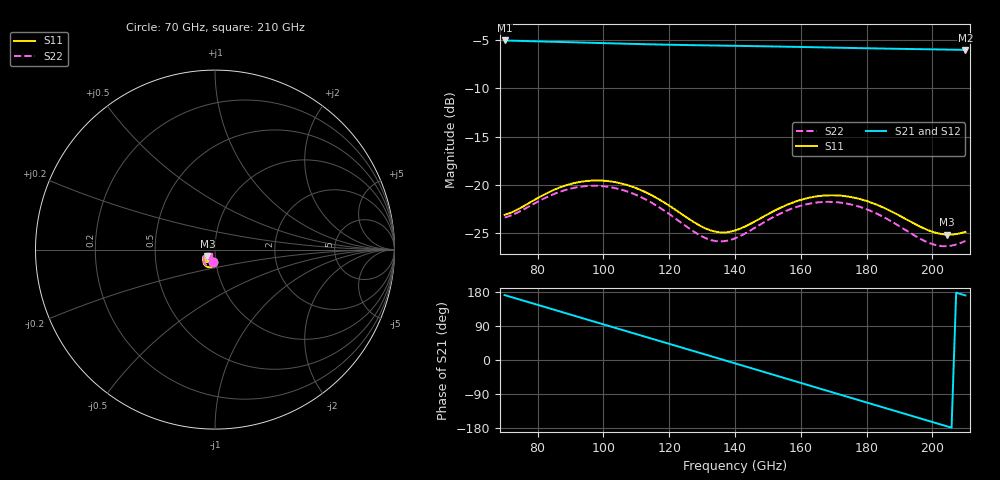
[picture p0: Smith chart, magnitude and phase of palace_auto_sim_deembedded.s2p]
! Created with skrf 1.11.0 (http://scikit-rf.org).
# GHz S DB R 50.0
!freq dBS11 angS11 dBS21 angS21 dBS12 angS12 dBS22 angS22
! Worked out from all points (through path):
!   101 points, 70 GHz to 210 GHz, reference 50 ohm
!   highest |S21| = -5.03 dB at 70 GHz (marker M1); lowest = -6.0 dB at 210 GHz (marker M2)
!   group delay of S21, straight-line fit = 7.16 ps
!   lowest |S11| = -25.1 dB at 204.4 GHz (marker M3), VSWR 1.12, Z = 45.9 - j3.32 ohm
!   |S11| at or under -10 dB: start of sweep to end of sweep
!   |S22| runs from -26.3 to -20.1 dB; largest |S21 - S12| = 6.2e-14
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70  -23.09 -100.1  -5.03 171.3  -5.03 171.3  -23.36 -101.5
75.6  -22.22 -95.1  -5.08 156.9  -5.08 156.9  -22.55 -96.8
81.2  -21.13 -95.8  -5.13 142.5  -5.13 142.5  -21.52 -97.6
88.2  -20.08 -102.0  -5.20 124.5  -5.20 124.5  -20.54 -104.1
93.8  -19.63 -109.2  -5.25 110.1  -5.25 110.1  -20.14 -111.4
99.4  -19.54 -117.1  -5.30 95.6  -5.30 95.6  -20.10 -119.6
105  -19.80 -124.9  -5.35 81.2  -5.35 81.2  -20.43 -127.6
110.6  -20.41 -132.0  -5.40 66.8  -5.40 66.8  -21.11 -134.9
117.6  -21.62 -138.5  -5.45 48.9  -5.45 48.9  -22.44 -141.4
128.8  -24.10 -137.9  -5.53 20.1  -5.53 20.1  -25.10 -139.8
134.4  -24.85 -131.1  -5.56 5.7  -5.56 5.7  -25.81 -131.9
140  -24.71 -123.0  -5.59 -8.8  -5.59 -8.8  -25.52 -123.5
151.2  -22.80 -117.7  -5.65 -37.7  -5.65 -37.7  -23.40 -119.4
158.2  -21.73 -121.8  -5.69 -55.9  -5.69 -55.9  -22.33 -124.4
163.8  -21.23 -127.1  -5.73 -70.3  -5.73 -70.3  -21.86 -130.4
169.4  -21.06 -133.2  -5.77 -84.8  -5.77 -84.8  -21.74 -137.0
175  -21.23 -139.3  -5.81 -99.2  -5.81 -99.2  -21.99 -143.6
180.6  -21.72 -144.6  -5.84 -113.7  -5.84 -113.7  -22.59 -149.2
187.6  -22.74 -149.0  -5.88 -131.7  -5.88 -131.7  -23.78 -153.5
196  -24.26 -148.0  -5.93 -153.4  -5.93 -153.4  -25.51 -151.4
204.4  -25.13 -139.3  -5.97 -175.1  -5.97 -175.1  -26.33 -140.1
210  -24.85 -132.6  -6.01 170.4  -6.01 170.4  -25.79 -132.4
